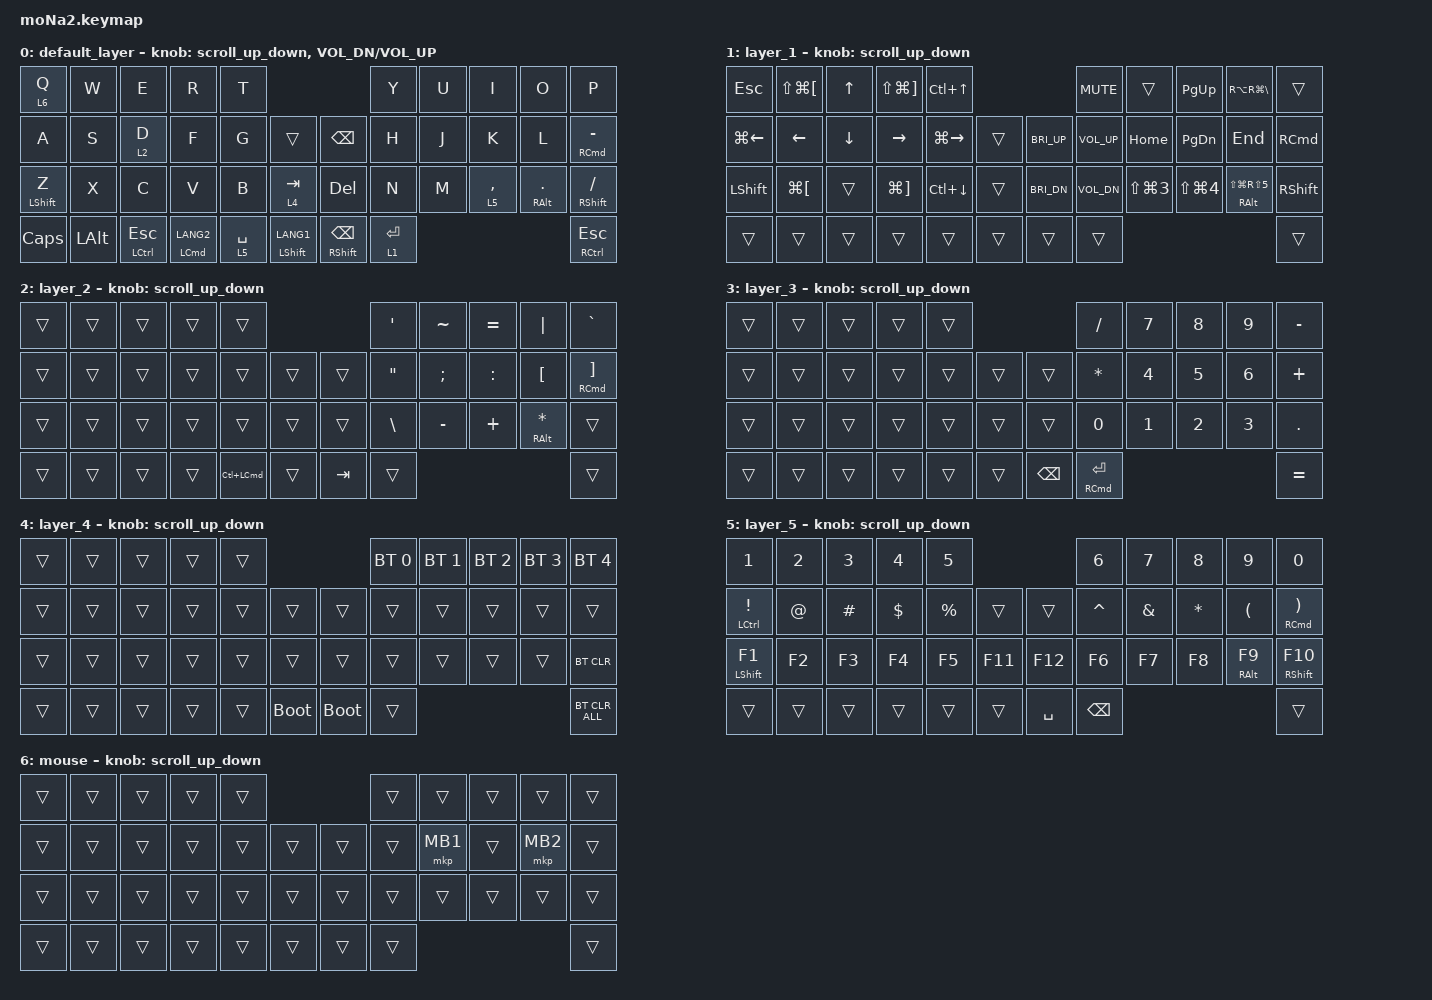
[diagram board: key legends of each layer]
#include <input/processors.dtsi>
#include <behaviors.dtsi>
#include <dt-bindings/zmk/bt.h>
#include <dt-bindings/zmk/keys.h>
#include <dt-bindings/zmk/pointing.h>

#define ZMK_POINTING_DEFAULT_SCRL_VAL 100
#define MOUSE 6

&mkp_input_listener { input-processors = <&zip_temp_layer MOUSE 10000>; };

&mt {
    flavor = "balanced";
    quick-tap-ms = <250>;
};

&lt {
    flavor = "balanced";
    quick-tap-ms = <250>;
};

/ {
    combos {
        compatible = "zmk,combos";

        tab {
            bindings = <&kp TAB>;
            key-positions = <11 12>;
        };

        escape {
            bindings = <&kp ESCAPE>;
            key-positions = <1 2 3>;
        };
    };

    macros {
        to_layer_0: to_layer_0 {
            compatible = "zmk,behavior-macro-one-param";
            #binding-cells = <1>;
            bindings = <&to 0 &macro_param_1to1 &kp MACRO_PLACEHOLDER>;
            label = "TO_LAYER_0";
        };

        exit_AML: exit_AML {
            compatible = "zmk,behavior-macro";
            wait-ms = <0>;
            tap-ms = <0>;
            #binding-cells = <0>;
            bindings = <&tog_off MOUSE>;
            label = "exit_AML";
        };

        kp_exit_AML: kp_exit_AML {
            compatible = "zmk,behavior-macro-one-param";
            wait-ms = <0>;
            tap-ms = <0>;
            #binding-cells = <1>;
            bindings = <&macro_param_1to1 &kp MACRO_PLACEHOLDER &exit_AML>;
            label = "KP_exit_AML";
        };
    };

    behaviors {
        lt_to_layer_0: lt_to_layer_0 {
            compatible = "zmk,behavior-hold-tap";
            label = "LAYER_TAP_TO_0";
            bindings = <&mo>, <&to_layer_0>;

            #binding-cells = <2>;
            tapping-term-ms = <200>;
        };

        scroll_up_down: behavior_sensor_rotate_mouse_wheel_up_down {
            compatible = "zmk,behavior-sensor-rotate";
            #sensor-binding-cells = <0>;
            bindings = <&msc SCRL_UP>, <&msc SCRL_DOWN>;

            tap-ms = <20>;
        };

        tog_off: toggle_layer_off {
            compatible = "zmk,behavior-toggle-layer";
            #binding-cells = <1>;
            display-name = "Toggle Layer Off";
            toggle-mode = "off";
        };

        mt_hp: mod_tap_hold_preferred {
            compatible = "zmk,behavior-hold-tap";
            #binding-cells = <2>;
            flavor = "hold-preferred";
            tapping-term-ms = <200>;
            bindings = <&kp>, <&kp>;

            quick-tap-ms = <250>;
            display-name = "Mod-Tap Hold Preferred";
        };

        lt_hp: layer_tap_hold_preferred {
            compatible = "zmk,behavior-hold-tap";
            #binding-cells = <2>;
            flavor = "hold-preferred";
            tapping-term-ms = <200>;
            bindings = <&mo>, <&kp>;

            quick-tap-ms = <250>;
            display-name = "Layer-Tap Hold Preferred";
        };

        mt_exit_AML_on_tap: mt_exit_AML_on_tap {
            compatible = "zmk,behavior-hold-tap";
            label = "MT_exit_AML_ON_TAP";
            bindings = <&kp>, <&kp_exit_AML>;

            #binding-cells = <2>;
            tapping-term-ms = <200>;
            flavor = "balanced";
            quick-tap-ms = <250>;
        };

        mt_exit_AML_on_tap_hp: mt_exit_AML_on_tap_hp {
            compatible = "zmk,behavior-hold-tap";
            label = "MT_exit_AML_ON_TAP_HP";
            bindings = <&kp>, <&kp_exit_AML>;

            #binding-cells = <2>;
            tapping-term-ms = <200>;
            flavor = "hold-preferred";
            quick-tap-ms = <250>;
        };
    };

    keymap {
        compatible = "zmk,keymap";

        default_layer {
            bindings = <
&lt 6 Q                           &kp W         &kp E                                       &kp R                                      &kp T                                                                                                    &kp Y           &kp U  &kp I        &kp O              &kp P
&kp A                             &kp S         &lt 2 D                                     &kp F                                      &kp G           &trans                                     &kp BACKSPACE                                 &kp H           &kp J  &kp K        &kp L              &mt_exit_AML_on_tap RIGHT_COMMAND MINUS
&mt_exit_AML_on_tap LEFT_SHIFT Z  &kp X         &kp C                                       &kp V                                      &kp B           &lt 4 TAB                                  &kp DELETE                                    &kp N           &kp M  &lt 5 COMMA  &mt RIGHT_ALT DOT  &mt_exit_AML_on_tap RIGHT_SHIFT SLASH
&kp CAPSLOCK                      &kp LEFT_ALT  &mt_exit_AML_on_tap_hp LEFT_CONTROL ESCAPE  &mt_exit_AML_on_tap_hp LEFT_COMMAND LANG2  &lt_hp 5 SPACE  &mt_exit_AML_on_tap_hp LEFT_SHIFT LANG1    &mt_exit_AML_on_tap_hp RIGHT_SHIFT BACKSPACE  &lt_hp 1 ENTER                                         &mt_exit_AML_on_tap_hp RIGHT_CONTROL ESCAPE
            >;

            sensor-bindings =
                <&scroll_up_down>,
                <&inc_dec_kp C_VOL_DN C_VOL_UP>;
        };

        layer_1 {
            bindings = <
&kp ESCAPE          &kp LS(LG(LEFT_BRACKET))  &kp UP_ARROW    &kp LS(LG(RIGHT_BRACKET))  &kp LC(UP_ARROW)                             &kp C_MUTE       &trans                &kp PAGE_UP           &kp RA(RG(BACKSLASH))               &trans
&kp LG(LEFT_ARROW)  &kp LEFT_ARROW            &kp DOWN_ARROW  &kp RIGHT_ARROW            &kp LG(RIGHT_ARROW)  &trans    &kp C_BRI_UP  &kp C_VOLUME_UP  &kp HOME              &kp PAGE_DOWN         &kp END                             &kp RIGHT_COMMAND
&kp LEFT_SHIFT      &kp LG(LEFT_BRACKET)      &trans          &kp LG(RIGHT_BRACKET)      &kp LC(DOWN_ARROW)   &trans    &kp C_BRI_DN  &kp C_VOL_DN     &kp LS(LG(NUMBER_3))  &kp LS(LG(NUMBER_4))  &mt RIGHT_ALT LS(LG(RS(NUMBER_5)))  &kp RIGHT_SHIFT
&trans              &trans                    &trans          &trans                     &trans               &trans    &trans        &trans                                                                                           &trans
            >;

            sensor-bindings = <&scroll_up_down>;
        };

        layer_2 {
            bindings = <
&trans  &trans  &trans  &trans  &trans                                   &kp SINGLE_QUOTE   &kp TILDE      &kp EQUAL  &kp PIPE                &kp GRAVE
&trans  &trans  &trans  &trans  &trans                &trans    &trans   &kp DOUBLE_QUOTES  &kp SEMICOLON  &kp COLON  &kp LEFT_BRACKET        &mt RIGHT_COMMAND RIGHT_BRACKET
&trans  &trans  &trans  &trans  &trans                &trans    &trans   &kp BACKSLASH      &kp MINUS      &kp PLUS   &mt RIGHT_ALT ASTERISK  &trans
&trans  &trans  &trans  &trans  &kp LC(LEFT_COMMAND)  &trans    &kp TAB  &trans                                                               &trans
            >;

            sensor-bindings = <&scroll_up_down>;
        };

        layer_3 {
            bindings = <
&trans  &trans  &trans  &trans  &trans                           &kp SLASH                &kp N7        &kp N8        &kp NUMBER_9  &kp MINUS
&trans  &trans  &trans  &trans  &trans  &trans    &trans         &kp ASTERISK             &kp NUMBER_4  &kp N5        &kp NUMBER_6  &kp PLUS
&trans  &trans  &trans  &trans  &trans  &trans    &trans         &kp NUMBER_0             &kp NUMBER_1  &kp NUMBER_2  &kp NUMBER_3  &kp PERIOD
&trans  &trans  &trans  &trans  &trans  &trans    &kp BACKSPACE  &mt RIGHT_COMMAND ENTER                                            &kp EQUAL
            >;

            sensor-bindings = <&scroll_up_down>;
        };

        layer_4 {
            bindings = <
&trans  &trans  &trans  &trans  &trans                              &bt BT_SEL 0  &bt BT_SEL 1  &bt BT_SEL 2  &bt BT_SEL 3  &bt BT_SEL 4
&trans  &trans  &trans  &trans  &trans  &trans         &trans       &trans        &trans        &trans        &trans        &trans
&trans  &trans  &trans  &trans  &trans  &trans         &trans       &trans        &trans        &trans        &trans        &bt BT_CLR
&trans  &trans  &trans  &trans  &trans  &bootloader    &bootloader  &trans                                                  &bt BT_CLR_ALL
            >;

            sensor-bindings = <&scroll_up_down>;
        };

        layer_5 {
            bindings = <
&kp NUMBER_1                       &kp NUMBER_2  &kp NUMBER_3  &kp NUMBER_4  &kp NUMBER_5                        &kp NUMBER_6   &kp NUMBER_7   &kp NUMBER_8  &kp NUMBER_9          &kp NUMBER_0
&mt LEFT_CONTROL EXCLAMATION       &kp AT_SIGN   &kp HASH      &kp DOLLAR    &kp PERCENT   &trans     &trans     &kp CARET      &kp AMPERSAND  &kp ASTERISK  &kp LEFT_PARENTHESIS  &mt RIGHT_COMMAND RIGHT_PARENTHESIS
&mt_exit_AML_on_tap LEFT_SHIFT F1  &kp F2        &kp F3        &kp F4        &kp F5        &kp F11    &kp F12    &kp F6         &kp F7         &kp F8        &mt RIGHT_ALT F9      &mt_exit_AML_on_tap RIGHT_SHIFT F10
&trans                             &trans        &trans        &trans        &trans        &trans     &kp SPACE  &kp BACKSPACE                                                     &trans
            >;

            sensor-bindings = <&scroll_up_down>;
        };

        mouse {
            bindings = <
&trans  &trans  &trans  &trans  &trans                    &trans  &trans    &trans  &trans    &trans
&trans  &trans  &trans  &trans  &trans  &trans    &trans  &trans  &mkp MB1  &trans  &mkp MB2  &trans
&trans  &trans  &trans  &trans  &trans  &trans    &trans  &trans  &trans    &trans  &trans    &trans
&trans  &trans  &trans  &trans  &trans  &trans    &trans  &trans                              &trans
            >;

            sensor-bindings = <&scroll_up_down>;
        };
    };
};
